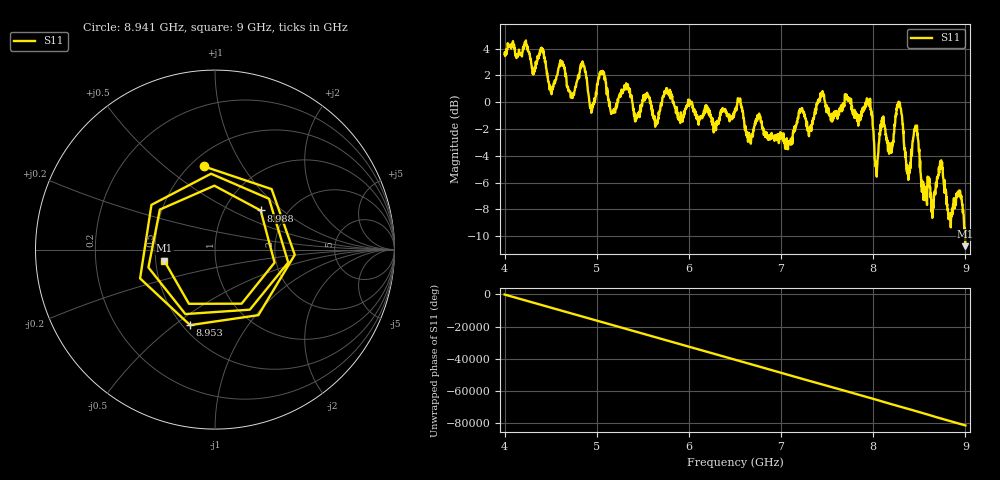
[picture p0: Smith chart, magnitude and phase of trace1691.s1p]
! Created with skrf 1.8.0 (http://scikit-rf.org).
# Hz S RI R 50.0
!freq ReS11 ImS11
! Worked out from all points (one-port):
!   1601 points, 4 GHz to 9 GHz, reference 50 ohm
!   lowest |S11| = -10.8 dB at 9 GHz (marker M1), VSWR 1.82, Z = 27.8 - j3.73 ohm
!   |S11| at or under -10 dB: 8.998196 GHz to end of sweep
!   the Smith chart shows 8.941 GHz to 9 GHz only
!   S11 on the Smith chart (normalised r, x): 8.941 GHz: 0.58, +0.69; 8.953 GHz: 0.55, -0.57; 8.988 GHz: 1.47, +0.72; 9 GHz: 0.56, -0.07
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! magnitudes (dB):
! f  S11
! 4 GHz  3.6
! 4.409 GHz  4.0
! 4.506 GHz  0.9
! 4.625 GHz  3.1
! 4.731 GHz  0.3
! 4.853 GHz  2.9
! 4.944 GHz  -0.7
! 5.053 GHz  2.2
! 5.169 GHz  -0.8
! 5.25 GHz  0.6
! 5.875 GHz  -0.8
! 6.5 GHz  -0.5
! 7.125 GHz  -2.7
! 7.441 GHz  0.7
! 7.75 GHz  -0.1
! 7.953 GHz  -0.1
! 8.038 GHz  -5.6
! 8.284 GHz  0.0
! 8.375 GHz  -5.3
! 8.462 GHz  -1.8
! 8.559 GHz  -6.4
! 8.65 GHz  -7.9
! 8.731 GHz  -5.0
! 8.828 GHz  -8.4
! 8.941 GHz  -6.6
! 8.953 GHz  -7.1
! 8.988 GHz  -9.5
! 9 GHz  -10.8
